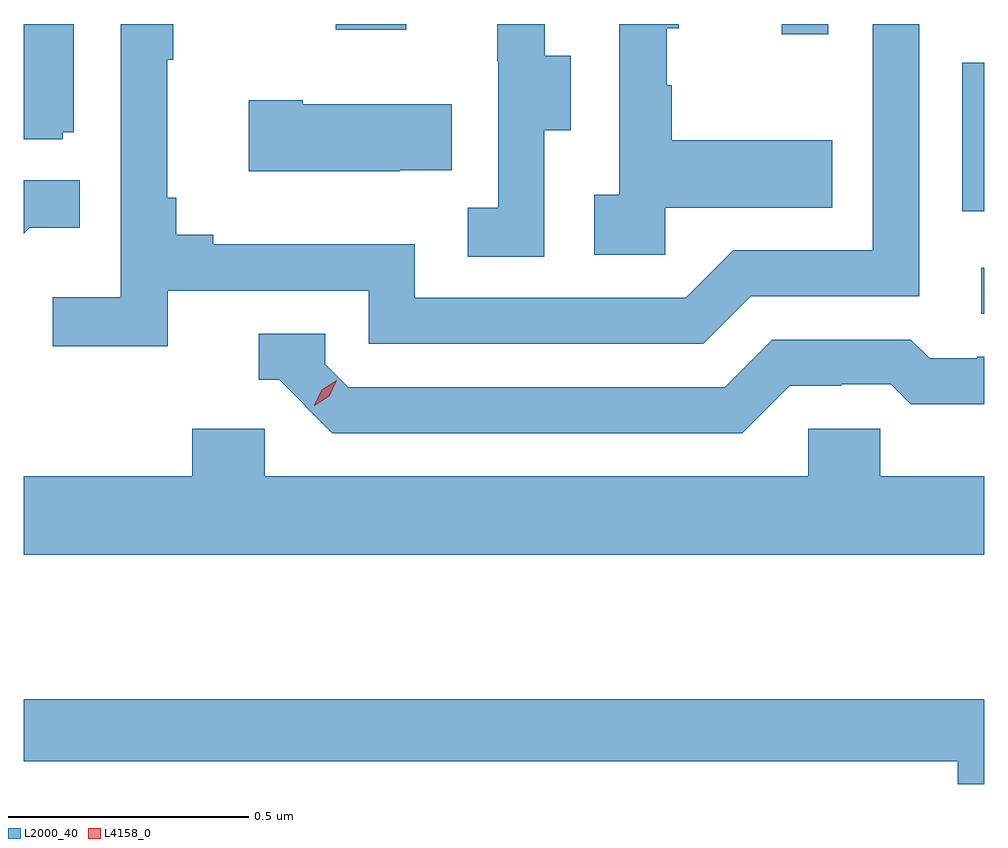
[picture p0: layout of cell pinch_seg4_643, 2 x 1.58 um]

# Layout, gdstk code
import gdstk
lib = gdstk.Library(unit=1e-6, precision=1e-09)
def R(c, l, rs):  # rectangles x0, y0, x1, y1
    for r in rs: c.add(gdstk.rectangle(r[:2], r[2:], *l))
def P(c, l, *ps):  # polygons
    for p in ps: c.add(gdstk.Polygon(p, *l))
L2000_40 = (2000, 40)
L4158_0 = (4158, 0)

pinch_seg4_643 = lib.new_cell('pinch_seg4_643')
R(pinch_seg4_643, L2000_40, [(1037.187,760.026,1037.194,760.122), (1037.148,760.239,1037.194,760.548), (1036.772,760.608,1036.869,760.629), (1035.844,760.617,1035.991,760.629)])
P(pinch_seg4_643, L2000_40, [(1036.278,760.408),(1036.333,760.408),(1036.333,760.563),(1036.279,760.563),(1036.279,760.629),(1036.18,760.629),(1036.18,760.551),(1036.182,760.551),(1036.182,760.247),(1036.119,760.247),(1036.119,760.144),(1036.278,760.144)],
  [(1036.53,760.247),(1036.877,760.247),(1036.877,760.387),(1036.543,760.387),(1036.543,760.502),(1036.533,760.502),(1036.533,760.62),(1036.558,760.62),(1036.558,760.629),(1036.434,760.629),(1036.434,760.274),(1036.382,760.274),(1036.382,760.149),(1036.53,760.149)],
  [(1035.494,760.074),(1035.912,760.074),(1035.912,759.963),(1036.609,759.963),(1036.708,760.062),(1037.058,760.062),(1037.058,760.629),(1036.962,760.629),(1036.962,760.158),(1036.671,760.158),(1036.572,760.059),(1036.008,760.059),(1036.008,760.171),(1035.589,760.171),(1035.589,760.19),(1035.512,760.19),(1035.512,760.267),(1035.493,760.267),(1035.493,760.555),(1035.505,760.555),(1035.505,760.629),(1035.396,760.629),(1035.396,760.06),(1035.255,760.06),(1035.255,759.958),(1035.494,759.958)],
  [(1035.276,760.404),(1035.298,760.404),(1035.298,760.629),(1035.194,760.629),(1035.194,760.389),(1035.276,760.389)],
  [(1035.977,760.325),(1036.085,760.325),(1036.085,760.462),(1035.775,760.462),(1035.775,760.47),(1035.663,760.47),(1035.663,760.322),(1035.977,760.322)],
  [(1035.207,760.205),(1035.311,760.205),(1035.311,760.304),(1035.194,760.304),(1035.194,760.192)],
  [(1036.789,759.876),(1036.896,759.876),(1036.896,759.879),(1036.999,759.879),(1037.041,759.837),(1037.194,759.837),(1037.194,759.936),(1037.179,759.936),(1037.179,759.933),(1037.08,759.933),(1037.041,759.972),(1036.752,759.972),(1036.653,759.873),(1035.87,759.873),(1035.822,759.921),(1035.822,759.984),(1035.683,759.984),(1035.683,759.888),(1035.726,759.888),(1035.837,759.777),(1036.69,759.777)],
  [(1037.194,759.688),(1036.977,759.688),(1036.977,759.786),(1036.827,759.786),(1036.827,759.688),(1035.696,759.688),(1035.696,759.786),(1035.545,759.786),(1035.545,759.688),(1035.194,759.688),(1035.194,759.524),(1037.194,759.524)],
  [(1037.194,759.223),(1035.194,759.223),(1035.194,759.094),(1037.138,759.094),(1037.138,759.047),(1037.194,759.047)])
P(pinch_seg4_643, L4158_0, [(1035.799,759.834),(1035.799,759.835),(1035.815,759.868),(1035.846,759.887),(1035.846,759.887),(1035.846,759.887),(1035.83,759.854),(1035.799,759.834)])

lib.write_gds('pinch_seg4_643.gds')
